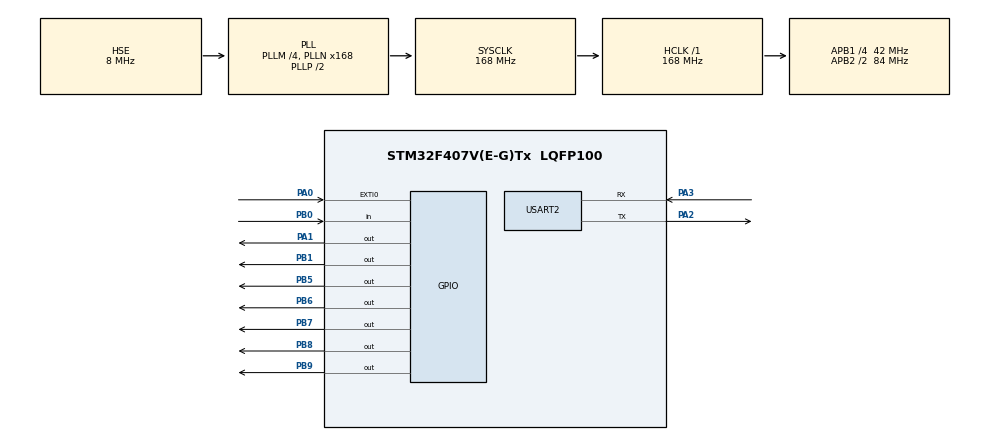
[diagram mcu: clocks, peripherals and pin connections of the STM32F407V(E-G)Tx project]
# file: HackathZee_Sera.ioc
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Mcu.Family=STM32F4
Mcu.Name=STM32F407V(E-G)Tx
Mcu.Package=LQFP100
NVIC.EXTI0_IRQn=true\:0\:0\:false\:false\:true\:true\:true\:true
NVIC.PriorityGroup=NVIC_PRIORITYGROUP_4
PA0-WKUP.GPIO_ModeDefaultEXTI=GPIO_MODE_IT_RISING
PA0-WKUP.GPIO_PuPd=GPIO_PULLUP
PA0-WKUP.Signal=GPXTI0
PA1.GPIO_PuPd=GPIO_NOPULL
PA1.Signal=GPIO_Output
PA13.Mode=Serial_Wire
PA13.Signal=SYS_JTMS-SWDIO
PA14.Mode=Serial_Wire
PA14.Signal=SYS_JTCK-SWCLK
PA2.Mode=Asynchronous
PA2.Signal=USART2_TX
PA3.Mode=Asynchronous
PA3.Signal=USART2_RX
PB0.GPIO_PuPd=GPIO_NOPULL
PB0.Signal=GPIO_Input
PB1.Signal=GPIO_Output
PB5.Signal=GPIO_Output
PB6.Signal=GPIO_Output
PB7.Signal=GPIO_Output
PB8.Signal=GPIO_Output
PB9.Signal=GPIO_Output
PH0-OSC_IN.Mode=HSE-External-Oscillator
PH0-OSC_IN.Signal=RCC_OSC_IN
PH1-OSC_OUT.Mode=HSE-External-Oscillator
PH1-OSC_OUT.Signal=RCC_OSC_OUT
ProjectManager.HeapSize=0x200
ProjectManager.StackSize=0x400
ProjectManager.TargetToolchain=STM32CubeIDE
RCC.48MHZClocksFreq_Value=84000000
RCC.AHBFreq_Value=168000000
RCC.APB1CLKDivider=RCC_HCLK_DIV4
RCC.APB1Freq_Value=42000000
RCC.APB1TimFreq_Value=84000000
RCC.APB2CLKDivider=RCC_HCLK_DIV2
RCC.APB2Freq_Value=84000000
RCC.APB2TimFreq_Value=168000000
RCC.CortexFreq_Value=168000000
RCC.HCLKFreq_Value=168000000
RCC.HSE_VALUE=8000000
RCC.HSI_VALUE=16000000
RCC.LSE_VALUE=32768
RCC.PLLM=4
RCC.PLLN=168
RCC.PLLSourceVirtual=RCC_PLLSOURCE_HSE
RCC.SYSCLKFreq_VALUE=168000000
RCC.SYSCLKSource=RCC_SYSCLKSOURCE_PLLCLK
RCC.VCOOutputFreq_Value=336000000
USART2.VirtualMode=VM_ASYNC
board=custom

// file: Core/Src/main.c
/* USER CODE BEGIN Header */
/**
  ******************************************************************************
  * @file           : main.c
  * @brief          : Main program body
  ******************************************************************************
  * @attention
  *
  * Copyright (c) 2026 STMicroelectronics.
  * All rights reserved.
  *
  * This software is licensed under terms that can be found in the LICENSE file
  * in the root directory of this software component.
  * If no LICENSE file comes with this software, it is provided AS-IS.
  *
  ******************************************************************************
  */
/* USER CODE END Header */
#include "main.h"

/* USER CODE BEGIN Includes */
#include "secure_telemetry.h"
#include "secure_link_config.h"
#include <string.h>
#include <stdio.h>
#include <stdlib.h>
#include <math.h>
/* USER CODE END Includes */

/* USER CODE BEGIN PD */
#define MOLD_TEMP_THRESHOLD_C 24.0f
#define MOLD_HUMIDITY_THRESHOLD_PCT 80.0f
#define MOLD_TEMP_DELTA_C 2.0f
#define MOLD_HUMIDITY_DELTA_PCT 5.0f
#define FROST_TRIGGER_DELTA_C 2.0f
#define FLOW_TRIGGER_DELTA_LPM 2.0f
#define MOLD_PREDICTION_LOOKAHEAD_MS 180000U
#define FROST_PREDICTION_LOOKAHEAD_MS 180000U
#define FLOW_PREDICTION_LOOKAHEAD_MS 30000U
#define TEMP_TREND_NOISE_FLOOR_C 0.2f
#define HUMIDITY_TREND_NOISE_FLOOR_PCT 0.5f
#define FLOW_TREND_NOISE_FLOOR_LPM 0.2f
#define CLIMATE_EVENT_WINDOW_MS 60000U
#define DHT22_MIN_TEMPERATURE_C -40.0f
#define DHT22_MAX_TEMPERATURE_C 80.0f
#define DHT22_MAX_HUMIDITY_PCT 100.0f
#define CLIMATE_TREND_CONFIRM_SAMPLES 2U
#define BUZZER_ACTIVE_LEVEL GPIO_PIN_SET
#define BUZZER_BEEP_DURATION_MS 2500U
#define FLOW_RELAY_ACTIVE_LEVEL GPIO_PIN_RESET
#define FROST_RELAY_ACTIVE_LEVEL GPIO_PIN_RESET
#define STEPPER_STEP_INTERVAL_MS 4U
#define DHT22_SAMPLE_INTERVAL_MS 2000U
#define FLOW_SAMPLE_INTERVAL_MS 1000U
#define TELEMETRY_SEND_INTERVAL_MS 1000U
#define ESP_RX_BUFFER_SIZE 384U

/* USER CODE END PD */

UART_HandleTypeDef huart2;

/* USER CODE BEGIN PV */

volatile float g_temperature_c = 0.0f;
volatile float g_humidity_pct = 0.0f;
volatile float g_flow_l_min = 0.0f;
volatile float g_flow_total_l = 0.0f;
volatile float g_flow_frequency_hz = 0.0f;
volatile uint32_t g_flow_pulse_count = 0U;
volatile uint8_t g_dht_valid = 0U;

static uint32_t flow_last_sample_tick = 0U;
static uint32_t flow_last_sample_pulses = 0U;
static uint32_t dht_last_sample_tick = 0U;
static float climate_reference_temperature_c = 0.0f;
static float climate_reference_humidity_pct = 0.0f;
static uint32_t climate_reference_tick = 0U;
static uint8_t climate_reference_valid = 0U;
static float frost_reference_temperature_c = 0.0f;
static uint32_t frost_reference_tick = 0U;
static uint8_t frost_reference_valid = 0U;
static float flow_reference_l_min = 0.0f;
static uint8_t flow_reference_valid = 0U;
static uint32_t telemetry_last_send_tick = 0U;
static uint8_t esp_tcp_connected = 0U;
static char esp_rx_line[ESP_RX_BUFFER_SIZE] = {0};
static uint8_t temperature_stepper_active = 0U;
static uint8_t flow_relay_active = 0U;
static uint8_t frost_relay_active = 0U;
static uint8_t flow_risk_predicted_state = 0U;
static uint8_t stepper_sequence_index = 0U;
static uint32_t stepper_last_step_tick = 0U;
static uint8_t buzzer_active = 0U;
static uint32_t buzzer_off_tick = 0U;
static uint8_t buzzer_mold_alarm_latched = 0U;
static uint8_t buzzer_frost_alarm_latched = 0U;
static uint8_t buzzer_flow_alarm_latched = 0U;
static uint8_t mold_alarm_active = 0U;
static uint8_t frost_alarm_active = 0U;
static uint8_t flow_alarm_active_state = 0U;
static float last_temperature_sample_c = 0.0f;
static float last_humidity_sample_pct = 0.0f;
static uint32_t last_dht_trend_tick = 0U;
static uint8_t dht_trend_valid = 0U;
static uint8_t mold_trend_rise_streak = 0U;
static uint8_t frost_trend_drop_streak = 0U;
static float last_flow_sample_l_min = 0.0f;
static uint32_t last_flow_trend_tick = 0U;
static uint8_t flow_trend_valid = 0U;
/* USER CODE END PV */

void SystemClock_Config(void);
static void MX_GPIO_Init(void);
static void MX_USART2_UART_Init(void);
/* USER CODE BEGIN PFP */
static void Sensors_Init(void);
static void Sensors_Service(void);
static void ServiceDelay(uint32_t delay_ms);
static void DWT_Delay_Init(void);
static void DelayUs(uint32_t delay_us);
static void DHT22_SetPinOutput(void);
static void DHT22_SetPinInput(void);
static uint8_t DHT22_WaitForState(GPIO_PinState state, uint32_t timeout_us);
static uint8_t DHT22_Read(float *temperature_c, float *humidity_pct);
static void DHT22_Service(void);
static uint8_t DHT22_IsReadingPlausible(float temperature_c, float humidity_pct);
static void FlowSensor_Service(void);
static void Stepper_Init(void);
static void Stepper_Service(void);
static void Stepper_Start(void);
static void Stepper_Stop(void);
static void Buzzer_Init(void);
static void Buzzer_Service(void);
static void Buzzer_Set(uint8_t enabled);
static void Buzzer_Trigger(uint32_t duration_ms);
static void Relay_Init(void);
static void Relay_Service(void);
static void Relay_Set(uint8_t enabled);
static void FrostRelay_Set(uint8_t enabled);
static void Telemetry_Service(void);
static void ESP_FlushRx(void);
static uint8_t ESP_WaitForResponse(const char *expected_ok, const char *expected_alt_ok, const char *expected_fail, uint32_t timeout_ms);
static uint8_t ESP_SendCommandAndWait(const char *command, const char *expected_ok, const char *expected_alt_ok, const char *expected_fail, uint32_t timeout_ms);
static uint8_t ESP_InitModule(void);
static uint8_t ESP_EnsureTcpConnected(void);
static uint8_t ESP_SendPayload(const char *payload);
static void ESP_RecoverLink(void);
static void BuildSensorPayload(char *buffer, size_t buffer_len);
static uint8_t PredictMoldRisk(
    float temperature_c,
    float humidity_pct,
    uint32_t now,
    uint32_t elapsed_ms,
    float temp_delta_c,
    float humidity_delta_pct);
static uint8_t PredictFrostRisk(
    float temperature_c,
    uint32_t now,
    uint32_t elapsed_ms,
    float temp_delta_c);
static uint8_t PredictFlowRisk(
    float flow_l_min,
    uint32_t elapsed_ms);

/* USER CODE END PFP */

/* USER CODE BEGIN 0 */
static const uint8_t stepper_sequence[4][4] = {
    {1U, 0U, 1U, 0U},
    {0U, 1U, 1U, 0U},
    {0U, 1U, 0U, 1U},
    {1U, 0U, 0U, 1U}
};
static void Sensors_Init(void)
{
  DWT_Delay_Init();
  DHT22_SetPinInput();
  Buzzer_Init();
  Stepper_Init();
  Relay_Init();
  flow_last_sample_tick = HAL_GetTick();
  dht_last_sample_tick = HAL_GetTick();
  telemetry_last_send_tick = HAL_GetTick();
}

static void Sensors_Service(void)
{
  Buzzer_Service();
  Stepper_Service();
  FlowSensor_Service();
  Relay_Service();
  DHT22_Service();
}

static void Stepper_Init(void)
{
  Stepper_Stop();
  stepper_last_step_tick = HAL_GetTick();
}

static void Stepper_Service(void)
{
  uint32_t now = HAL_GetTick();

  if (temperature_stepper_active == 0U)
  {
    return;
  }

  if ((now - stepper_last_step_tick) < STEPPER_STEP_INTERVAL_MS)
  {
    return;
  }

  stepper_sequence_index = (uint8_t)((stepper_sequence_index + 1U) % 4U);
  stepper_last_step_tick = now;

  HAL_GPIO_WritePin(STEPPER_IN1_GPIO_Port, STEPPER_IN1_Pin, (GPIO_PinState)stepper_sequence[stepper_sequence_index][0]);
  HAL_GPIO_WritePin(STEPPER_IN2_GPIO_Port, STEPPER_IN2_Pin, (GPIO_PinState)stepper_sequence[stepper_sequence_index][1]);
  HAL_GPIO_WritePin(STEPPER_IN3_GPIO_Port, STEPPER_IN3_Pin, (GPIO_PinState)stepper_sequence[stepper_sequence_index][2]);
  HAL_GPIO_WritePin(STEPPER_IN4_GPIO_Port, STEPPER_IN4_Pin, (GPIO_PinState)stepper_sequence[stepper_sequence_index][3]);
}

static void Stepper_Start(void)
{
  temperature_stepper_active = 1U;
  stepper_sequence_index = 0U;
  stepper_last_step_tick = HAL_GetTick();

  HAL_GPIO_WritePin(STEPPER_IN1_GPIO_Port, STEPPER_IN1_Pin, (GPIO_PinState)stepper_sequence[0][0]);
  HAL_GPIO_WritePin(STEPPER_IN2_GPIO_Port, STEPPER_IN2_Pin, (GPIO_PinState)stepper_sequence[0][1]);
  HAL_GPIO_WritePin(STEPPER_IN3_GPIO_Port, STEPPER_IN3_Pin, (GPIO_PinState)stepper_sequence[0][2]);
  HAL_GPIO_WritePin(STEPPER_IN4_GPIO_Port, STEPPER_IN4_Pin, (GPIO_PinState)stepper_sequence[0][3]);
}

static void Stepper_Stop(void)
{
  temperature_stepper_active = 0U;
  HAL_GPIO_WritePin(GPIOB, STEPPER_IN1_Pin | STEPPER_IN2_Pin | STEPPER_IN3_Pin | STEPPER_IN4_Pin, GPIO_PIN_RESET);
}

static void Buzzer_Set(uint8_t enabled)
{
  GPIO_PinState pin_state = GPIO_PIN_RESET;

  buzzer_active = enabled;

  if (enabled != 0U)
  {
    pin_state = BUZZER_ACTIVE_LEVEL;
  }
  else
  {
    pin_state = (BUZZER_ACTIVE_LEVEL == GPIO_PIN_SET) ? GPIO_PIN_RESET : GPIO_PIN_SET;
  }

  HAL_GPIO_WritePin(BUZZER_GPIO_Port, BUZZER_Pin, pin_state);
}

static void Buzzer_Init(void)
{
  buzzer_off_tick = 0U;
  buzzer_mold_alarm_latched = 0U;
  buzzer_frost_alarm_latched = 0U;
  buzzer_flow_alarm_latched = 0U;
  Buzzer_Set(0U);
}

static void Buzzer_Trigger(uint32_t duration_ms)
{
  Buzzer_Set(1U);
  buzzer_off_tick = HAL_GetTick() + duration_ms;
}

static void Buzzer_Service(void)
{
  uint32_t now = HAL_GetTick();

  if ((buzzer_active != 0U) && ((int32_t)(now - buzzer_off_tick) >= 0))
  {
    Buzzer_Set(0U);
  }
}

static void Relay_Set(uint8_t enabled)
{
  GPIO_PinState pin_state = GPIO_PIN_RESET;

  flow_relay_active = enabled;

  if (enabled != 0U)
  {
    pin_state = FLOW_RELAY_ACTIVE_LEVEL;
  }
  else
  {
    pin_state = (FLOW_RELAY_ACTIVE_LEVEL == GPIO_PIN_SET) ? GPIO_PIN_RESET : GPIO_PIN_SET;
  }

  HAL_GPIO_WritePin(FLOW_RELAY_GPIO_Port, FLOW_RELAY_Pin, pin_state);
}

static void Relay_Init(void)
{
  Relay_Set(0U);
  FrostRelay_Set(0U);
}

static void Relay_Service(void)
{
  uint8_t flow_alarm_active = 0U;

  if (flow_reference_valid == 0U)
  {
    buzzer_flow_alarm_latched = 0U;
    flow_alarm_active_state = 0U;
    return;
  }

  flow_alarm_active = (uint8_t)(
      (g_flow_l_min >= (flow_reference_l_min + FLOW_TRIGGER_DELTA_LPM)) ||
      (flow_risk_predicted_state != 0U));

  if ((flow_alarm_active != 0U) && (buzzer_flow_alarm_latched == 0U))
  {
    Buzzer_Trigger(BUZZER_BEEP_DURATION_MS);
    buzzer_flow_alarm_latched = 1U;
  }
  else if (flow_alarm_active == 0U)
  {
    buzzer_flow_alarm_latched = 0U;
  }

  flow_alarm_active_state = flow_alarm_active;

  if (flow_alarm_active != 0U)
  {
    Relay_Set(1U);
  }
  else
  {
    Relay_Set(0U);
  }
}

static void FrostRelay_Set(uint8_t enabled)
{
  GPIO_PinState pin_state = GPIO_PIN_RESET;

  frost_relay_active = enabled;

  if (enabled != 0U)
  {
    pin_state = FROST_RELAY_ACTIVE_LEVEL;
  }
  else
  {
    pin_state = (FROST_RELAY_ACTIVE_LEVEL == GPIO_PIN_SET) ? GPIO_PIN_RESET : GPIO_PIN_SET;
  }

  HAL_GPIO_WritePin(FROST_RELAY_GPIO_Port, FROST_RELAY_Pin, pin_state);
}

static uint8_t DHT22_IsReadingPlausible(float temperature_c, float humidity_pct)
{
  if ((temperature_c < DHT22_MIN_TEMPERATURE_C) ||
      (temperature_c > DHT22_MAX_TEMPERATURE_C) ||
      (humidity_pct < 0.0f) ||
      (humidity_pct > DHT22_MAX_HUMIDITY_PCT))
  {
    return 0U;
  }

  return 1U;
}

static uint8_t PredictMoldRisk(
    float temperature_c,
    float humidity_pct,
    uint32_t now,
    uint32_t elapsed_ms,
    float temp_delta_c,
    float humidity_delta_pct)
{
  float temp_rate_c_per_ms = 0.0f;
  float humidity_rate_pct_per_ms = 0.0f;
  float predicted_temperature_c = temperature_c;
  float predicted_humidity_pct = humidity_pct;
  uint32_t reference_age_ms = 0U;
  uint32_t prediction_horizon_ms = 0U;

  if ((dht_trend_valid == 0U) || (elapsed_ms == 0U) || (climate_reference_valid == 0U))
  {
    return 0U;
  }

  if (mold_trend_rise_streak < CLIMATE_TREND_CONFIRM_SAMPLES)
  {
    return 0U;
  }

  if ((temp_delta_c < TEMP_TREND_NOISE_FLOOR_C) ||
      (humidity_delta_pct < HUMIDITY_TREND_NOISE_FLOOR_PCT))
  {
    return 0U;
  }

  temp_rate_c_per_ms = (temperature_c - last_temperature_sample_c) / (float)elapsed_ms;
  humidity_rate_pct_per_ms = (humidity_pct - last_humidity_sample_pct) / (float)elapsed_ms;

  if ((temp_rate_c_per_ms <= 0.0f) || (humidity_rate_pct_per_ms <= 0.0f))
  {
    return 0U;
  }

  reference_age_ms = now - climate_reference_tick;
  if (reference_age_ms >= CLIMATE_EVENT_WINDOW_MS)
  {
    return 0U;
  }

  prediction_horizon_ms = CLIMATE_EVENT_WINDOW_MS - reference_age_ms;
  if (prediction_horizon_ms > MOLD_PREDICTION_LOOKAHEAD_MS)
  {
    prediction_horizon_ms = MOLD_PREDICTION_LOOKAHEAD_MS;
  }

  predicted_temperature_c += temp_rate_c_per_ms * (float)prediction_horizon_ms;
  predicted_humidity_pct += humidity_rate_pct_per_ms * (float)prediction_horizon_ms;

  return (uint8_t)(
      (predicted_temperature_c >= MOLD_TEMP_THRESHOLD_C) &&
      (predicted_humidity_pct >= MOLD_HUMIDITY_THRESHOLD_PCT) &&
      ((predicted_temperature_c - climate_reference_temperature_c) >= MOLD_TEMP_DELTA_C) &&
      ((predicted_humidity_pct - climate_reference_humidity_pct) >= MOLD_HUMIDITY_DELTA_PCT));
}

static uint8_t PredictFrostRisk(
    float temperature_c,
    uint32_t now,
    uint32_t elapsed_ms,
    float temp_delta_c)
{
  float temp_rate_c_per_ms = 0.0f;
  float predicted_temperature_c = temperature_c;
  uint32_t reference_age_ms = 0U;
  uint32_t prediction_horizon_ms = 0U;

  if ((dht_trend_valid == 0U) || (elapsed_ms == 0U) || (frost_reference_valid == 0U))
  {
    return 0U;
  }

  if (frost_trend_drop_streak < CLIMATE_TREND_CONFIRM_SAMPLES)
  {
    return 0U;
  }

  if (temp_delta_c > (-TEMP_TREND_NOISE_FLOOR_C))
  {
    return 0U;
  }

  temp_rate_c_per_ms = (temperature_c - last_temperature_sample_c) / (float)elapsed_ms;
  if (temp_rate_c_per_ms >= 0.0f)
  {
    return 0U;
  }

  reference_age_ms = now - frost_reference_tick;
  if (reference_age_ms >= CLIMATE_EVENT_WINDOW_MS)
  {
    return 0U;
  }

  prediction_horizon_ms = CLIMATE_EVENT_WINDOW_MS - reference_age_ms;
  if (prediction_horizon_ms > FROST_PREDICTION_LOOKAHEAD_MS)
  {
    prediction_horizon_ms = FROST_PREDICTION_LOOKAHEAD_MS;
  }

  predicted_temperature_c += temp_rate_c_per_ms * (float)prediction_horizon_ms;

  return (uint8_t)(
      (predicted_temperature_c <= (frost_reference_temperature_c - FROST_TRIGGER_DELTA_C)));
}

static uint8_t PredictFlowRisk(
    float flow_l_min,
    uint32_t elapsed_ms)
{
  float flow_rate_lpm_per_ms = 0.0f;
  float predicted_flow_l_min = flow_l_min;

  if ((flow_trend_valid == 0U) || (elapsed_ms == 0U) || (flow_reference_valid == 0U))
  {
    return 0U;
  }

  flow_rate_lpm_per_ms = (flow_l_min - last_flow_sample_l_min) / (float)elapsed_ms;
  if (flow_rate_lpm_per_ms <= 0.0f)
  {
    return 0U;
  }

  if (fabsf(flow_l_min - last_flow_sample_l_min) < FLOW_TREND_NOISE_FLOOR_LPM)
  {
    return 0U;
  }

  predicted_flow_l_min += flow_rate_lpm_per_ms * (float)FLOW_PREDICTION_LOOKAHEAD_MS;
  return (uint8_t)(predicted_flow_l_min >= (flow_reference_l_min + FLOW_TRIGGER_DELTA_LPM));
}

static void ESP_FlushRx(void)
{
  uint8_t byte = 0U;

  while (HAL_UART_Receive(&huart2, &byte, 1U, 2U) == HAL_OK)
  {
  }
}

static uint8_t ESP_WaitForResponse(const char *expected_ok, const char *expected_alt_ok, const char *expected_fail, uint32_t timeout_ms)
{
  uint8_t byte = 0U;
  uint32_t start_tick = HAL_GetTick();
  size_t used = 0U;

  esp_rx_line[0] = '\0';

  while ((HAL_GetTick() - start_tick) < timeout_ms)
  {
    if (HAL_UART_Receive(&huart2, &byte, 1U, 1U) == HAL_OK)
    {
      if (used < (ESP_RX_BUFFER_SIZE - 1U))
      {
        esp_rx_line[used++] = (char)byte;
      }
      else
      {
        memmove(esp_rx_line, esp_rx_line + 1, ESP_RX_BUFFER_SIZE - 2U);
        esp_rx_line[ESP_RX_BUFFER_SIZE - 2U] = (char)byte;
        used = ESP_RX_BUFFER_SIZE - 1U;
      }

      esp_rx_line[used] = '\0';

      if ((expected_ok != NULL) && (strstr(esp_rx_line, expected_ok) != NULL))
      {
        return 1U;
      }

      if ((expected_alt_ok != NULL) && (strstr(esp_rx_line, expected_alt_ok) != NULL))
      {
        return 1U;
      }

      if ((expected_fail != NULL) && (strstr(esp_rx_line, expected_fail) != NULL))
      {
        return 0U;
      }

      if ((strstr(esp_rx_line, "busy") != NULL) ||
          (strstr(esp_rx_line, "SEND FAIL") != NULL) ||
          (strstr(esp_rx_line, "link is not valid") != NULL))
      {
        return 0U;
      }
    }

    Sensors_Service();
  }

  return 0U;
}

static uint8_t ESP_SendCommandAndWait(const char *command, const char *expected_ok, const char *expected_alt_ok, const char *expected_fail, uint32_t timeout_ms)
{
  ESP_FlushRx();

  if (HAL_UART_Transmit(&huart2, (uint8_t *)command, strlen(command), 1000U) != HAL_OK)
  {
    return 0U;
  }

  return ESP_WaitForResponse(expected_ok, expected_alt_ok, expected_fail, timeout_ms);
}

static uint8_t ESP_InitModule(void)
{
  uint8_t attempt = 0U;

  for (attempt = 0U; attempt < 5U; attempt++)
  {
    if (ESP_SendCommandAndWait("AT\r\n", "OK", NULL, "ERROR", 600U) != 0U)
    {
      break;
    }

    ServiceDelay(100U);
  }

  if (attempt == 5U)
  {
    return 0U;
  }

  if (ESP_SendCommandAndWait("ATE0\r\n", "OK", NULL, "ERROR", 600U) == 0U)
  {
    return 0U;
  }

  if (ESP_SendCommandAndWait("AT+CWMODE=1\r\n", "OK", "no change", "ERROR", 600U) == 0U)
  {
    return 0U;
  }

  if (ESP_SendCommandAndWait(
          "AT+CWJAP=\"" SECURE_LINK_WIFI_SSID "\",\"" SECURE_LINK_WIFI_PASSWORD "\"\r\n",
          "WIFI GOT IP",
          "OK",
          "FAIL",
          12000U) == 0U)
  {
    return 0U;
  }

  if (ESP_SendCommandAndWait("AT+CIPMUX=0\r\n", "OK", "no change", "ERROR", 600U) == 0U)
  {
    return 0U;
  }

  return 1U;
}

static uint8_t ESP_EnsureTcpConnected(void)
{
  if (esp_tcp_connected != 0U)
  {
    return 1U;
  }

  if (ESP_SendCommandAndWait("AT+CIPSTART=\"TCP\",\"192.168.4.1\",80\r\n",
                             "CONNECT",
                             "ALREADY CONNECTED",
                             "ERROR",
                             2500U) == 0U)
  {
    return 0U;
  }

  esp_tcp_connected = 1U;
  return 1U;
}

static void ESP_RecoverLink(void)
{
  esp_tcp_connected = 0U;
  (void)ESP_SendCommandAndWait("AT+CIPCLOSE\r\n", "OK", "ERROR", "FAIL", 500U);

  if (ESP_EnsureTcpConnected() != 0U)
  {
    return;
  }

  if (ESP_InitModule() != 0U)
  {
    (void)ESP_EnsureTcpConnected();
  }
}

static uint8_t ESP_SendPayload(const char *payload)
{
  char cmd_send[32];
  size_t payload_len = strlen(payload);

  if (ESP_EnsureTcpConnected() == 0U)
  {
    return 0U;
  }

  snprintf(cmd_send, sizeof(cmd_send), "AT+CIPSEND=%lu\r\n", (unsigned long)payload_len);

  if (ESP_SendCommandAndWait(cmd_send, ">", NULL, "ERROR", 1000U) == 0U)
  {
    esp_tcp_connected = 0U;
    return 0U;
  }

  ESP_FlushRx();

  if (HAL_UART_Transmit(&huart2, (uint8_t *)payload, payload_len, 1000U) != HAL_OK)
  {
    esp_tcp_connected = 0U;
    return 0U;
  }

  if (ESP_WaitForResponse("SEND OK", NULL, "ERROR", 1200U) == 0U)
  {
    esp_tcp_connected = 0U;
    return 0U;
  }

  if (strstr(esp_rx_line, "CLOSED") != NULL)
  {
    esp_tcp_connected = 0U;
  }

  return 1U;
}

static void Telemetry_Service(void)
{
  char data[100];
  char secure_packet[SECURE_TELEMETRY_MAX_PACKET_LEN];
  uint32_t now = HAL_GetTick();

  if (climate_reference_valid == 0U)
  {
    return;
  }

  if ((now - telemetry_last_send_tick) < TELEMETRY_SEND_INTERVAL_MS)
  {
    return;
  }

  telemetry_last_send_tick = now;

  BuildSensorPayload(data, sizeof(data));
  if (SecureTelemetry_Encode(
          (const uint8_t *)data,
          strlen(data),
          SECURE_LINK_PAIR_SECRET,
          secure_packet,
          sizeof(secure_packet)) == 0U)
  {
    return;
  }

  if (ESP_SendPayload(secure_packet) == 0U)
  {
    ESP_RecoverLink();
  }
}

static void ServiceDelay(uint32_t delay_ms)
{
  uint32_t start_tick = HAL_GetTick();

  while ((HAL_GetTick() - start_tick) < delay_ms)
  {
    uint32_t remaining = delay_ms - (HAL_GetTick() - start_tick);
    uint32_t chunk = (remaining > 10U) ? 10U : remaining;

    Sensors_Service();

    if (chunk > 0U)
    {
      HAL_Delay(chunk);
    }
  }
}

static void DWT_Delay_Init(void)
{
  CoreDebug->DEMCR |= CoreDebug_DEMCR_TRCENA_Msk;
  DWT->CYCCNT = 0U;
  DWT->CTRL |= DWT_CTRL_CYCCNTENA_Msk;
}

static void DelayUs(uint32_t delay_us)
{
  uint32_t start = DWT->CYCCNT;
  uint32_t cycles = delay_us * (SystemCoreClock / 1000000U);

  while ((DWT->CYCCNT - start) < cycles)
  {
  }
}

static void DHT22_SetPinOutput(void)
{
  GPIO_InitTypeDef GPIO_InitStruct = {0};

  GPIO_InitStruct.Pin = DHT22_DATA_Pin;
  GPIO_InitStruct.Mode = GPIO_MODE_OUTPUT_PP;
  GPIO_InitStruct.Pull = GPIO_NOPULL;
  GPIO_InitStruct.Speed = GPIO_SPEED_FREQ_LOW;
  HAL_GPIO_Init(DHT22_DATA_GPIO_Port, &GPIO_InitStruct);
}

static void DHT22_SetPinInput(void)
{
  GPIO_InitTypeDef GPIO_InitStruct = {0};

  GPIO_InitStruct.Pin = DHT22_DATA_Pin;
  GPIO_InitStruct.Mode = GPIO_MODE_INPUT;
  GPIO_InitStruct.Pull = GPIO_NOPULL;
  HAL_GPIO_Init(DHT22_DATA_GPIO_Port, &GPIO_InitStruct);
}

static uint8_t DHT22_WaitForState(GPIO_PinState state, uint32_t timeout_us)
{
  uint32_t start = DWT->CYCCNT;
  uint32_t timeout_cycles = timeout_us * (SystemCoreClock / 1000000U);

  while ((DWT->CYCCNT - start) < timeout_cycles)
  {
    if (HAL_GPIO_ReadPin(DHT22_DATA_GPIO_Port, DHT22_DATA_Pin) == state)
    {
      return 1U;
    }
  }

  return 0U;
}

static uint8_t DHT22_Read(float *temperature_c, float *humidity_pct)
{
  uint8_t data[5] = {0};
  uint8_t i = 0U;
  uint16_t raw_humidity = 0U;
  uint16_t raw_temperature = 0U;

  DHT22_SetPinOutput();
  HAL_GPIO_WritePin(DHT22_DATA_GPIO_Port, DHT22_DATA_Pin, GPIO_PIN_RESET);
  DelayUs(1200U);

  DHT22_SetPinInput();
  DelayUs(30U);

  if (DHT22_WaitForState(GPIO_PIN_RESET, 100U) == 0U)
  {
    return 0U;
  }

  if (DHT22_WaitForState(GPIO_PIN_SET, 100U) == 0U)
  {
    return 0U;
  }

  if (DHT22_WaitForState(GPIO_PIN_RESET, 100U) == 0U)
  {
    return 0U;
  }

  for (i = 0U; i < 40U; i++)
  {
    if (DHT22_WaitForState(GPIO_PIN_SET, 100U) == 0U)
    {
      return 0U;
    }

    DelayUs(40U);
    data[i / 8U] <<= 1U;

    if (HAL_GPIO_ReadPin(DHT22_DATA_GPIO_Port, DHT22_DATA_Pin) == GPIO_PIN_SET)
    {
      data[i / 8U] |= 1U;
    }

    if ((i < 39U) && (DHT22_WaitForState(GPIO_PIN_RESET, 100U) == 0U))
    {
      return 0U;
    }
  }

  if (((uint8_t)(data[0] + data[1] + data[2] + data[3])) != data[4])
  {
    return 0U;
  }

  raw_humidity = ((uint16_t)data[0] << 8) | data[1];
  raw_temperature = ((uint16_t)data[2] << 8) | data[3];

  *humidity_pct = raw_humidity / 10.0f;

  if ((raw_temperature & 0x8000U) != 0U)
  {
    raw_temperature &= 0x7FFFU;
    *temperature_c = -(raw_temperature / 10.0f);
  }
  else
  {
    *temperature_c = raw_temperature / 10.0f;
  }

  return 1U;
}

static void DHT22_Service(void)
{
  float temperature_c = 0.0f;
  float humidity_pct = 0.0f;
  float temp_delta_c = 0.0f;
  float humidity_delta_pct = 0.0f;
  uint8_t mold_risk = 0U;
  uint8_t frost_risk = 0U;
  uint8_t mold_risk_predicted = 0U;
  uint8_t frost_risk_predicted = 0U;
  uint32_t trend_elapsed_ms = 0U;
  uint32_t now = HAL_GetTick();

  if ((now - dht_last_sample_tick) < DHT22_SAMPLE_INTERVAL_MS)
  {
    return;
  }

  dht_last_sample_tick = now;

  if (DHT22_Read(&temperature_c, &humidity_pct) != 0U)
  {
    if (DHT22_IsReadingPlausible(temperature_c, humidity_pct) == 0U)
    {
      g_dht_valid = 0U;
      Stepper_Stop();
      FrostRelay_Set(0U);
      mold_alarm_active = 0U;
      frost_alarm_active = 0U;
      dht_trend_valid = 0U;
      mold_trend_rise_streak = 0U;
      frost_trend_drop_streak = 0U;
      return;
    }

    if ((dht_trend_valid != 0U) && (now > last_dht_trend_tick))
    {
      trend_elapsed_ms = now - last_dht_trend_tick;
      temp_delta_c = temperature_c - last_temperature_sample_c;
      humidity_delta_pct = humidity_pct - last_humidity_sample_pct;

      if ((temp_delta_c >= TEMP_TREND_NOISE_FLOOR_C) &&
          (humidity_delta_pct >= HUMIDITY_TREND_NOISE_FLOOR_PCT))
      {
        if (mold_trend_rise_streak < 255U)
        {
          mold_trend_rise_streak++;
        }
      }
      else
      {
        mold_trend_rise_streak = 0U;
      }

      if (temp_delta_c <= (-TEMP_TREND_NOISE_FLOOR_C))
      {
        if (frost_trend_drop_streak < 255U)
        {
          frost_trend_drop_streak++;
        }
      }
      else
      {
        frost_trend_drop_streak = 0U;
      }
    }
    else
    {
      mold_trend_rise_streak = 0U;
      frost_trend_drop_streak = 0U;
    }

    g_temperature_c = temperature_c;
    g_humidity_pct = humidity_pct;
    g_dht_valid = 1U;

    if (climate_reference_valid == 0U)
    {
      climate_reference_temperature_c = temperature_c;
      climate_reference_humidity_pct = humidity_pct;
      climate_reference_tick = now;
      climate_reference_valid = 1U;
      frost_reference_temperature_c = temperature_c;
      frost_reference_tick = now;
      frost_reference_valid = 1U;
      telemetry_last_send_tick = now - TELEMETRY_SEND_INTERVAL_MS;
    }

    if (((now - climate_reference_tick) > CLIMATE_EVENT_WINDOW_MS) ||
        (temperature_c < climate_reference_temperature_c) ||
        (humidity_pct < climate_reference_humidity_pct))
    {
      climate_reference_temperature_c = temperature_c;
      climate_reference_humidity_pct = humidity_pct;
      climate_reference_tick = now;
    }

    if ((frost_reference_valid == 0U) ||
        ((now - frost_reference_tick) > CLIMATE_EVENT_WINDOW_MS) ||
        (temperature_c > frost_reference_temperature_c))
    {
      frost_reference_temperature_c = temperature_c;
      frost_reference_tick = now;
      frost_reference_valid = 1U;
    }

    mold_risk = (uint8_t)(
        (temperature_c >= MOLD_TEMP_THRESHOLD_C) &&
        (humidity_pct >= MOLD_HUMIDITY_THRESHOLD_PCT));

    frost_risk = (uint8_t)(
        (frost_reference_valid != 0U) &&
        ((now - frost_reference_tick) <= CLIMATE_EVENT_WINDOW_MS) &&
        (temperature_c <= (frost_reference_temperature_c - FROST_TRIGGER_DELTA_C)) &&
        (temp_delta_c <= (-TEMP_TREND_NOISE_FLOOR_C)));

    mold_risk_predicted = PredictMoldRisk(
        temperature_c,
        humidity_pct,
        now,
        trend_elapsed_ms,
        temp_delta_c,
        humidity_delta_pct);
    frost_risk_predicted = PredictFrostRisk(
        temperature_c,
        now,
        trend_elapsed_ms,
        temp_delta_c);

    if (((mold_risk != 0U) || (mold_risk_predicted != 0U)) && (buzzer_mold_alarm_latched == 0U))
    {
      Buzzer_Trigger(BUZZER_BEEP_DURATION_MS);
      buzzer_mold_alarm_latched = 1U;
    }
    else if ((mold_risk == 0U) && (mold_risk_predicted == 0U))
    {
      buzzer_mold_alarm_latched = 0U;
    }

    if (((frost_risk != 0U) || (frost_risk_predicted != 0U)) && (buzzer_frost_alarm_latched == 0U))
    {
      Buzzer_Trigger(BUZZER_BEEP_DURATION_MS);
      buzzer_frost_alarm_latched = 1U;
    }
    else if ((frost_risk == 0U) && (frost_risk_predicted == 0U))
    {
      buzzer_frost_alarm_latched = 0U;
    }

    if ((mold_risk != 0U) || (mold_risk_predicted != 0U))
    {
      Stepper_Start();
    }
    else
    {
      Stepper_Stop();
    }

    FrostRelay_Set((uint8_t)((frost_risk != 0U) || (frost_risk_predicted != 0U)));
    mold_alarm_active = (uint8_t)((mold_risk != 0U) || (mold_risk_predicted != 0U));
    frost_alarm_active = (uint8_t)((frost_risk != 0U) || (frost_risk_predicted != 0U));

    last_temperature_sample_c = temperature_c;
    last_humidity_sample_pct = humidity_pct;
    last_dht_trend_tick = now;
    dht_trend_valid = 1U;
  }
  else
  {
    g_dht_valid = 0U;
    Stepper_Stop();
    FrostRelay_Set(0U);
    mold_alarm_active = 0U;
    frost_alarm_active = 0U;
    dht_trend_valid = 0U;
    buzzer_mold_alarm_latched = 0U;
    buzzer_frost_alarm_latched = 0U;
    mold_trend_rise_streak = 0U;
    frost_trend_drop_streak = 0U;
  }
}

static void FlowSensor_Service(void)
{
  uint32_t now = HAL_GetTick();
  uint32_t elapsed_ms = now - flow_last_sample_tick;
  uint32_t pulse_delta = 0U;
  float frequency_hz = 0.0f;
  float flow_l_min = 0.0f;

  if (elapsed_ms < FLOW_SAMPLE_INTERVAL_MS)
  {
    return;
  }

  pulse_delta = g_flow_pulse_count - flow_last_sample_pulses;
  frequency_hz = (pulse_delta * 1000.0f) / elapsed_ms;

  if (pulse_delta == 0U)
  {
    flow_l_min = 0.0f;
  }
  else
  {
    flow_l_min = (frequency_hz + 3.0f) / 23.0f;
  }

  g_flow_frequency_hz = frequency_hz;
  g_flow_l_min = flow_l_min;
  g_flow_total_l = g_flow_pulse_count / 1380.0f;

  if (flow_reference_valid == 0U)
  {
    flow_reference_l_min = flow_l_min;
    flow_reference_valid = 1U;
  }

  if ((flow_trend_valid != 0U) && (now > last_flow_trend_tick))
  {
    flow_risk_predicted_state = PredictFlowRisk(flow_l_min, now - last_flow_trend_tick);
  }
  else
  {
    flow_risk_predicted_state = 0U;
  }

  last_flow_sample_l_min = flow_l_min;
  last_flow_trend_tick = now;
  flow_trend_valid = 1U;

  flow_last_sample_tick = now;
  flow_last_sample_pulses = g_flow_pulse_count;
}

static void BuildSensorPayload(char *buffer, size_t buffer_len)
{
  int32_t temperature_x10 = (int32_t)(g_temperature_c * 10.0f);
  uint32_t temperature_fraction = (uint32_t)abs((int)(temperature_x10 % 10));
  uint32_t humidity_x10 = (uint32_t)(g_humidity_pct * 10.0f);
  uint32_t flow_x100 = (uint32_t)(g_flow_l_min * 100.0f);

  snprintf(
      buffer,
      buffer_len,
      "Sicaklik: %ld.%luC, Nem: %lu.%lu%%, Debi: %lu.%02luL/dk, Mantar: %u, Don: %u, Boru: %u\r\n",
      (long)(temperature_x10 / 10),
      (unsigned long)temperature_fraction,
      (unsigned long)(humidity_x10 / 10U),
      (unsigned long)(humidity_x10 % 10U),
      (unsigned long)(flow_x100 / 100U),
      (unsigned long)(flow_x100 % 100U),
      (unsigned int)(mold_alarm_active != 0U),
      (unsigned int)(frost_alarm_active != 0U),
      (unsigned int)(flow_alarm_active_state != 0U));
}

/* USER CODE END 0 */

int main(void)
{

  /* MCU Configuration--------------------------------------------------------*/

  /* Reset of all peripherals, Initializes the Flash interface and the Systick. */
  HAL_Init();

  /* Configure the system clock */
  SystemClock_Config();

  /* Initialize all configured peripherals */
  MX_GPIO_Init();
  MX_USART2_UART_Init();
  /* USER CODE BEGIN 2 */
  Sensors_Init();
  ServiceDelay(500U);
  (void)ESP_InitModule();
  (void)ESP_EnsureTcpConnected();

  /* USER CODE END 2 */

  /* Infinite loop */
  /* USER CODE BEGIN WHILE */
  while (1)
  {
    Sensors_Service();
    Telemetry_Service();

    /* USER CODE END WHILE */

  }
}

void SystemClock_Config(void)
{
  RCC_OscInitTypeDef RCC_OscInitStruct = {0};
  RCC_ClkInitTypeDef RCC_ClkInitStruct = {0};

  /** Configure the main internal regulator output voltage
  */
  __HAL_RCC_PWR_CLK_ENABLE();
  __HAL_PWR_VOLTAGESCALING_CONFIG(PWR_REGULATOR_VOLTAGE_SCALE1);

  /** Initializes the RCC Oscillators according to the specified parameters
  * in the RCC_OscInitTypeDef structure.
  */
  RCC_OscInitStruct.OscillatorType = RCC_OSCILLATORTYPE_HSE;
  RCC_OscInitStruct.HSEState = RCC_HSE_ON;
  RCC_OscInitStruct.PLL.PLLState = RCC_PLL_ON;
  RCC_OscInitStruct.PLL.PLLSource = RCC_PLLSOURCE_HSE;
  RCC_OscInitStruct.PLL.PLLM = 4;
  RCC_OscInitStruct.PLL.PLLN = 168;
  RCC_OscInitStruct.PLL.PLLP = RCC_PLLP_DIV2;
  RCC_OscInitStruct.PLL.PLLQ = 4;
  if (HAL_RCC_OscConfig(&RCC_OscInitStruct) != HAL_OK)
  {
    Error_Handler();
  }

  /** Initializes the CPU, AHB and APB buses clocks
  */
  RCC_ClkInitStruct.ClockType = RCC_CLOCKTYPE_HCLK|RCC_CLOCKTYPE_SYSCLK
                              |RCC_CLOCKTYPE_PCLK1|RCC_CLOCKTYPE_PCLK2;
  RCC_ClkInitStruct.SYSCLKSource = RCC_SYSCLKSOURCE_PLLCLK;
  RCC_ClkInitStruct.AHBCLKDivider = RCC_SYSCLK_DIV1;
  RCC_ClkInitStruct.APB1CLKDivider = RCC_HCLK_DIV4;
  RCC_ClkInitStruct.APB2CLKDivider = RCC_HCLK_DIV2;

  if (HAL_RCC_ClockConfig(&RCC_ClkInitStruct, FLASH_LATENCY_5) != HAL_OK)
  {
    Error_Handler();
  }
}

static void MX_USART2_UART_Init(void)
{

  huart2.Instance = USART2;
  huart2.Init.BaudRate = 115200;
  huart2.Init.WordLength = UART_WORDLENGTH_8B;
  huart2.Init.StopBits = UART_STOPBITS_1;
  huart2.Init.Parity = UART_PARITY_NONE;
  huart2.Init.Mode = UART_MODE_TX_RX;
  huart2.Init.HwFlowCtl = UART_HWCONTROL_NONE;
  huart2.Init.OverSampling = UART_OVERSAMPLING_16;
  if (HAL_UART_Init(&huart2) != HAL_OK)
  {
    Error_Handler();
  }

}

static void MX_GPIO_Init(void)
{
  GPIO_InitTypeDef GPIO_InitStruct = {0};

  /* GPIO Ports Clock Enable */
  __HAL_RCC_GPIOH_CLK_ENABLE();
  __HAL_RCC_GPIOA_CLK_ENABLE();
  __HAL_RCC_GPIOB_CLK_ENABLE();

  HAL_GPIO_WritePin(FLOW_RELAY_GPIO_Port, FLOW_RELAY_Pin,
                    (FLOW_RELAY_ACTIVE_LEVEL == GPIO_PIN_SET) ? GPIO_PIN_RESET : GPIO_PIN_SET);
  HAL_GPIO_WritePin(FROST_RELAY_GPIO_Port, FROST_RELAY_Pin,
                    (FROST_RELAY_ACTIVE_LEVEL == GPIO_PIN_SET) ? GPIO_PIN_RESET : GPIO_PIN_SET);
  HAL_GPIO_WritePin(BUZZER_GPIO_Port, BUZZER_Pin,
                    (BUZZER_ACTIVE_LEVEL == GPIO_PIN_SET) ? GPIO_PIN_RESET : GPIO_PIN_SET);

  /*Configure GPIO pin Output Level */
  HAL_GPIO_WritePin(GPIOB, GPIO_PIN_6|GPIO_PIN_7|GPIO_PIN_8|GPIO_PIN_9, GPIO_PIN_RESET);

  /*Configure GPIO pin : PA0 */
  GPIO_InitStruct.Pin = GPIO_PIN_0;
  GPIO_InitStruct.Mode = GPIO_MODE_IT_RISING;
  GPIO_InitStruct.Pull = GPIO_PULLUP;
  HAL_GPIO_Init(GPIOA, &GPIO_InitStruct);

  /*Configure GPIO pin : PA1 */
  GPIO_InitStruct.Pin = GPIO_PIN_1;
  GPIO_InitStruct.Mode = GPIO_MODE_OUTPUT_PP;
  GPIO_InitStruct.Pull = GPIO_NOPULL;
  GPIO_InitStruct.Speed = GPIO_SPEED_FREQ_LOW;
  HAL_GPIO_Init(GPIOA, &GPIO_InitStruct);

  /*Configure GPIO pin : PB0 */
  GPIO_InitStruct.Pin = GPIO_PIN_0;
  GPIO_InitStruct.Mode = GPIO_MODE_INPUT;
  GPIO_InitStruct.Pull = GPIO_NOPULL;
  HAL_GPIO_Init(GPIOB, &GPIO_InitStruct);

  /*Configure GPIO pins : PB1 PB5 PB6 PB7
                           PB8 PB9 */
  GPIO_InitStruct.Pin = GPIO_PIN_1|GPIO_PIN_5|GPIO_PIN_6|GPIO_PIN_7
                          |GPIO_PIN_8|GPIO_PIN_9;
  GPIO_InitStruct.Mode = GPIO_MODE_OUTPUT_PP;
  GPIO_InitStruct.Pull = GPIO_NOPULL;
  GPIO_InitStruct.Speed = GPIO_SPEED_FREQ_LOW;
  HAL_GPIO_Init(GPIOB, &GPIO_InitStruct);

  /* EXTI interrupt init*/
  HAL_NVIC_SetPriority(EXTI0_IRQn, 0, 0);
  HAL_NVIC_EnableIRQ(EXTI0_IRQn);

  /* USER CODE BEGIN MX_GPIO_Init_2 */
  HAL_GPIO_WritePin(FLOW_RELAY_GPIO_Port, FLOW_RELAY_Pin,
                    (FLOW_RELAY_ACTIVE_LEVEL == GPIO_PIN_SET) ? GPIO_PIN_RESET : GPIO_PIN_SET);
  HAL_GPIO_WritePin(FROST_RELAY_GPIO_Port, FROST_RELAY_Pin,
                    (FROST_RELAY_ACTIVE_LEVEL == GPIO_PIN_SET) ? GPIO_PIN_RESET : GPIO_PIN_SET);
  GPIO_InitStruct.Pin = STEPPER_IN1_Pin | STEPPER_IN2_Pin | STEPPER_IN3_Pin | STEPPER_IN4_Pin;
  GPIO_InitStruct.Mode = GPIO_MODE_OUTPUT_PP;
  GPIO_InitStruct.Pull = GPIO_NOPULL;
  GPIO_InitStruct.Speed = GPIO_SPEED_FREQ_LOW;
  HAL_GPIO_Init(GPIOB, &GPIO_InitStruct);

  HAL_GPIO_WritePin(GPIOB, STEPPER_IN1_Pin | STEPPER_IN2_Pin | STEPPER_IN3_Pin | STEPPER_IN4_Pin, GPIO_PIN_RESET);

  /* USER CODE END MX_GPIO_Init_2 */
}

/* USER CODE BEGIN 4 */
void HAL_GPIO_EXTI_Callback(uint16_t GPIO_Pin)
{
  if (GPIO_Pin == FLOW_SENSOR_Pin)
  {
    g_flow_pulse_count++;
  }
}

/* USER CODE END 4 */

void Error_Handler(void)
{
  __disable_irq();
  while (1)
  {
  }
}
